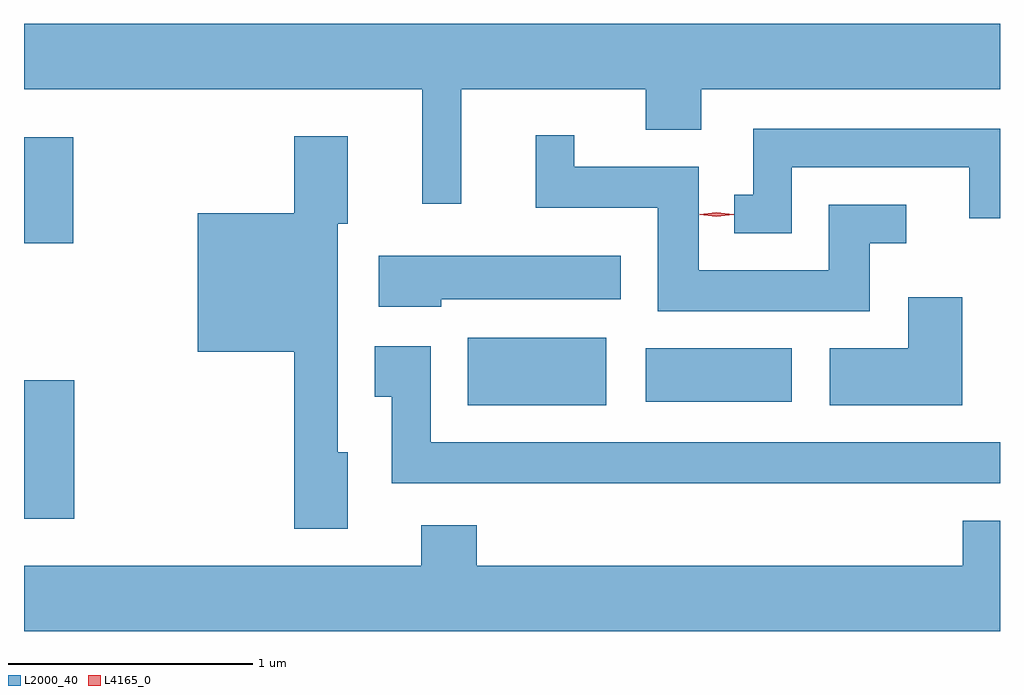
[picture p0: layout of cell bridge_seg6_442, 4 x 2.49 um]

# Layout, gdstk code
import gdstk
lib = gdstk.Library(unit=1e-6, precision=1e-09)
def R(c, l, rs):  # rectangles x0, y0, x1, y1
    for r in rs: c.add(gdstk.rectangle(r[:2], r[2:], *l))
def P(c, l, *ps):  # polygons
    for p in ps: c.add(gdstk.Polygon(p, *l))
L2000_40 = (2000, 40)
L4165_0 = (4165, 0)

bridge_seg6_442 = lib.new_cell('bridge_seg6_442')
R(bridge_seg6_442, L2000_40, [(803.963,1601.556,804.169,1602.124), (805.781,1602.021,806.349,1602.299), (806.511,1602.036,807.109,1602.254), (803.963,1602.686,804.164,1603.119)])
P(bridge_seg6_442, L2000_40, [(805.754,1603.316),(806.511,1603.316),(806.511,1603.151),(806.739,1603.151),(806.739,1603.316),(807.963,1603.316),(807.963,1603.584),(803.963,1603.584),(803.963,1603.316),(805.596,1603.316),(805.596,1602.848),(805.754,1602.848)],
  [(807.109,1602.996),(807.836,1602.996),(807.836,1602.788),(807.963,1602.788),(807.963,1603.154),(806.951,1603.154),(806.951,1602.884),(806.873,1602.884),(806.873,1602.726),(807.109,1602.726)],
  [(807.429,1602.686),(807.578,1602.686),(807.578,1602.844),(807.261,1602.844),(807.261,1602.574),(806.729,1602.574),(806.729,1602.999),(806.219,1602.999),(806.219,1603.128),(806.061,1603.128),(806.061,1602.831),(806.561,1602.831),(806.561,1602.406),(807.429,1602.406)],
  [(805.289,1601.829),(805.249,1601.829),(805.249,1602.766),(805.289,1602.766),(805.289,1603.124),(805.071,1603.124),(805.071,1602.809),(804.676,1602.809),(804.676,1602.241),(805.071,1602.241),(805.071,1601.516),(805.289,1601.516)],
  [(805.674,1602.456),(806.409,1602.456),(806.409,1602.634),(805.416,1602.634),(805.416,1602.426),(805.674,1602.426)],
  [(807.809,1602.464),(807.586,1602.464),(807.586,1602.254),(807.266,1602.254),(807.266,1602.021),(807.809,1602.021)],
  [(807.963,1601.869),(805.629,1601.869),(805.629,1602.264),(805.401,1602.264),(805.401,1602.056),(805.471,1602.056),(805.471,1601.701),(807.963,1601.701)],
  [(807.963,1601.549),(807.811,1601.549),(807.811,1601.364),(805.819,1601.364),(805.819,1601.529),(805.591,1601.529),(805.591,1601.364),(803.963,1601.364),(803.963,1601.096),(807.963,1601.096)])
P(bridge_seg6_442, L4165_0, [(806.801,1602.794),(806.732,1602.803),(806.732,1602.803),(806.732,1602.804),(806.801,1602.813),(806.871,1602.804),(806.871,1602.804),(806.871,1602.803)])

lib.write_gds('bridge_seg6_442.gds')
